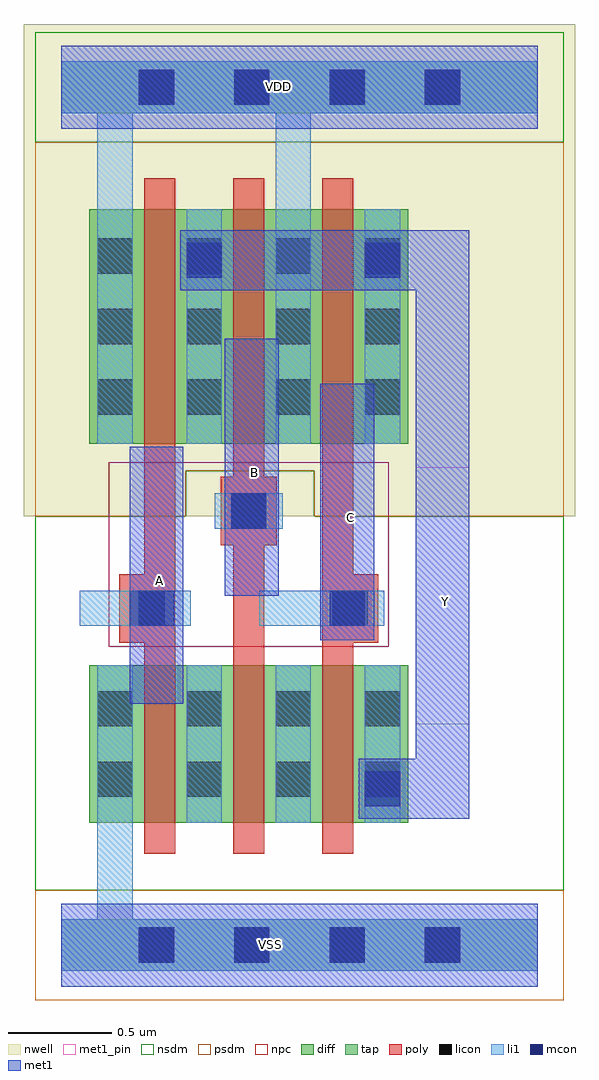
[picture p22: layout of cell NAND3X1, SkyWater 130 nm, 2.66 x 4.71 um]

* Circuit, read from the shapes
.subckt NAND3X1 A B C VDD VSS Y
XM1 n1 A VSS VSS sky130_fd_pr__nfet_01v8 w=0.76 l=0.15
XM2 n2 B n1 VSS sky130_fd_pr__nfet_01v8 w=0.76 l=0.15
XM3 Y C n2 VSS sky130_fd_pr__nfet_01v8 w=0.76 l=0.15
XM4 Y A VDD VDD sky130_fd_pr__pfet_01v8 w=1.13 l=0.15
XM5 VDD B Y VDD sky130_fd_pr__pfet_01v8 w=1.13 l=0.15
XM6 Y C VDD VDD sky130_fd_pr__pfet_01v8 w=1.13 l=0.15
.ends

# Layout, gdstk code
from math import pi, radians
import gdstk
lib = gdstk.Library(unit=1e-6, precision=1e-09)
def R(c, l, rs):  # rectangles x0, y0, x1, y1
    for r in rs: c.add(gdstk.rectangle(r[:2], r[2:], *l))
def A(c, l, x, y, w, h, nx, ny, dx, dy):  # array of equal rectangles
    R(c, l, [(x+i*dx, y+j*dy, x+i*dx+w, y+j*dy+h) for i in range(nx) for j in range(ny)])
def P(c, l, *ps):  # polygons
    for p in ps: c.add(gdstk.Polygon(p, *l))
nwell = (64, 20)
diff = (65, 20)
tap = (65, 44)
poly = (66, 20)
licon = (66, 44)
li1 = (67, 20)
mcon = (67, 44)
met1_pin = (68, 16)
met1 = (68, 20)
nsdm = (93, 44)
psdm = (94, 20)
npc = (95, 20)

licondiff_c_cdns_7515547 = lib.new_cell('LICONDIFF_C_CDNS_751554744755')
R(licondiff_c_cdns_7515547, diff, [(-0.125,-0.145,0.125,0.145)])
R(licondiff_c_cdns_7515547, licon, [(-0.085,-0.085,0.085,0.085), (-0.085,-0.085,0.085,0.085)])

pyl1con_c_cdns_751554744 = lib.new_cell('PYL1CON_C_CDNS_751554744751')
R(pyl1con_c_cdns_751554744, poly, [(-0.135,-0.165,0.135,0.165)])
R(pyl1con_c_cdns_751554744, licon, [(-0.085,-0.085,0.085,0.085)])
R(pyl1con_c_cdns_751554744, npc, [(-0.185,-0.185,0.185,0.185)])

l1m1_c_cdns_751554744750 = lib.new_cell('L1M1_C_CDNS_751554744750$$8')
R(l1m1_c_cdns_751554744750, li1, [(-0.085,-0.165,0.085,0.165)])
R(l1m1_c_cdns_751554744750, mcon, [(-0.085,-0.085,0.085,0.085)])
R(l1m1_c_cdns_751554744750, met1, [(-0.115,-0.145,0.115,0.145)])

c_l1m1_c_cdns_751554744750 = lib.new_cell('L1M1_C_CDNS_751554744750$$9')
R(c_l1m1_c_cdns_751554744750, li1, [(-0.165,-0.085,0.165,0.085)])
R(c_l1m1_c_cdns_751554744750, mcon, [(-0.085,-0.085,0.085,0.085)])
R(c_l1m1_c_cdns_751554744750, met1, [(-0.115,-0.145,0.115,0.145)])

nand3x1 = lib.new_cell('NAND3X1')
R(nand3x1, nwell, [(-0.18,2.07,2.48,4.445)])
R(nand3x1, diff, [(0.135,0.59,1.675,1.35), (0.135,2.42,1.675,3.55)])
A(nand3x1, poly, 0.4, 0.44, 0.15, 3.26, 3, 1, 0.43, 0)
A(nand3x1, licon, 0.375, -0.085, 0.17, 0.17, 4, 2, 0.46, 4.14)
A(nand3x1, licon, 0.175, 2.56, 0.17, 0.17, 4, 3, 0.43, 0.34)
R(nand3x1, licon, [(0.175,0.715,0.345,0.885), (1.465,0.715,1.635,0.885), (0.175,1.055,0.345,1.225), (1.465,1.055,1.635,1.225)])
R(nand3x1, li1, [(1.465,0.59,1.635,1.35), (0.605,2.42,0.775,3.55), (1.465,2.42,1.635,3.55)])
P(nand3x1, li1, [(2.3,0.125),(0.345,0.125),(0.345,1.35),(0.175,1.35),(0.175,0.125),(0,0.125),(0,-0.125),(2.3,-0.125)],
  [(2.3,4.265),(0,4.265),(0,4.015),(0.175,4.015),(0.175,2.42),(0.345,2.42),(0.345,4.015),(1.035,4.015),(1.035,2.42),(1.205,2.42),(1.205,4.015),(2.3,4.015)])
A(nand3x1, mcon, 0.375, -0.085, 0.17, 0.17, 4, 2, 0.46, 4.14)
R(nand3x1, met1_pin, [(1.71,1.065,1.97,2.305), (0.33,1.165,0.59,2.405), (1.25,1.47,1.51,2.71), (0.79,1.685,1.05,2.925)])
P(nand3x1, met1, [(1.97,3.45),(0.65,3.45),(0.65,3.16),(1.71,3.16),(1.71,0.9),(1.535,0.9),(1.535,0.61),(1.97,0.61)])
R(nand3x1, nsdm, [(-0.125,3.875,2.425,4.405)])
P(nand3x1, nsdm, [(2.425,2.07),(1.22,2.07),(1.22,2.29),(0.6,2.29),(0.6,2.07),(-0.125,2.07),(-0.125,0.265),(2.425,0.265)])
R(nand3x1, psdm, [(-0.125,-0.265,2.425,0.265)])
P(nand3x1, psdm, [(2.425,3.875),(-0.125,3.875),(-0.125,2.07),(0.6,2.07),(0.6,2.29),(1.22,2.29),(1.22,2.07),(2.425,2.07)])
R(nand3x1, npc, [(0.23,1.44,1.58,2.33)])
nand3x1.add(gdstk.FlexPath([(1.12,0.59),(1.12,1.35)], 0.17, ends="flush", simple_path=True, layer=67, datatype=20))  # li1
nand3x1.add(gdstk.FlexPath([(0.69,0.59),(0.69,1.35)], 0.17, ends="flush", simple_path=True, layer=67, datatype=20))  # li1
nand3x1.add(gdstk.FlexPath([(0.09,1.625),(0.58,1.625)], 0.17, ends="flush", simple_path=True, layer=67, datatype=20))  # li1
nand3x1.add(gdstk.FlexPath([(0.955,1.625),(1.56,1.625)], 0.17, ends="flush", simple_path=True, layer=67, datatype=20))  # li1
nand3x1.add(gdstk.FlexPath([(0.92,1.685),(0.92,2.925)], 0.26, ends="flush", simple_path=True, layer=68, datatype=20))  # met1
nand3x1.add(gdstk.FlexPath([(1.38,1.47),(1.38,2.71)], 0.26, ends="flush", simple_path=True, layer=68, datatype=20))  # met1
nand3x1.add(gdstk.FlexPath([(0,4.14),(2.3,4.14)], 0.4, ends="flush", simple_path=True, layer=68, datatype=20))  # met1
nand3x1.add(gdstk.FlexPath([(0,0),(2.3,0)], 0.4, ends="flush", simple_path=True, layer=68, datatype=20))  # met1
nand3x1.add(gdstk.FlexPath([(0.46,1.165),(0.46,2.405)], 0.26, ends="flush", simple_path=True, layer=68, datatype=20))  # met1
nand3x1.add(gdstk.FlexPath([(0,4.14),(2.3,4.14)], 0.4, ends="flush", simple_path=True, layer=68, datatype=16))  # met1_pin
nand3x1.add(gdstk.FlexPath([(0,0),(2.3,0)], 0.4, ends="flush", simple_path=True, layer=68, datatype=16))  # met1_pin
nand3x1.add(gdstk.FlexPath([(0,0),(2.3,0)], 0.25, ends="flush", simple_path=True, layer=65, datatype=44))  # tap
nand3x1.add(gdstk.FlexPath([(0,4.14),(2.3,4.14)], 0.25, ends="flush", simple_path=True, layer=65, datatype=44))  # tap
nand3x1.add(gdstk.Reference(licondiff_c_cdns_7515547, (0.69,0.8)))
nand3x1.add(gdstk.Reference(licondiff_c_cdns_7515547, (1.12,0.8)))
nand3x1.add(gdstk.Reference(licondiff_c_cdns_7515547, (0.69,1.14)))
nand3x1.add(gdstk.Reference(licondiff_c_cdns_7515547, (1.12,1.14)))
nand3x1.add(gdstk.Reference(pyl1con_c_cdns_751554744, (0.905,2.095), rotation=pi, x_reflection=True))
nand3x1.add(gdstk.Reference(pyl1con_c_cdns_751554744, (0.415,1.625), rotation=pi, x_reflection=True))
nand3x1.add(gdstk.Reference(pyl1con_c_cdns_751554744, (1.395,1.625), rotation=pi, x_reflection=True))
nand3x1.add(gdstk.Reference(l1m1_c_cdns_751554744750, (0.69,3.305)))
nand3x1.add(gdstk.Reference(l1m1_c_cdns_751554744750, (1.55,3.305)))
nand3x1.add(gdstk.Reference(l1m1_c_cdns_751554744750, (1.55,0.755)))
nand3x1.add(gdstk.Reference(c_l1m1_c_cdns_751554744750, (0.46,1.625), x_reflection=True))
nand3x1.add(gdstk.Reference(c_l1m1_c_cdns_751554744750, (0.905,2.095), x_reflection=True))
nand3x1.add(gdstk.Reference(c_l1m1_c_cdns_751554744750, (1.38,1.625), x_reflection=True))
nand3x1.add(gdstk.Label('VDD', (1.05,4.145), layer=68, texttype=5))
nand3x1.add(gdstk.Label('A', (0.475,1.76), layer=68, texttype=5))
nand3x1.add(gdstk.Label('C', (1.395,2.065), layer=68, texttype=5))
nand3x1.add(gdstk.Label('B', (0.935,2.28), layer=68, texttype=5))
nand3x1.add(gdstk.Label('Y', (1.855,1.66), layer=68, texttype=5))
nand3x1.add(gdstk.Label('VSS', (1.01,0.005), layer=68, texttype=5))

lib.write_gds('NAND3X1.gds')
